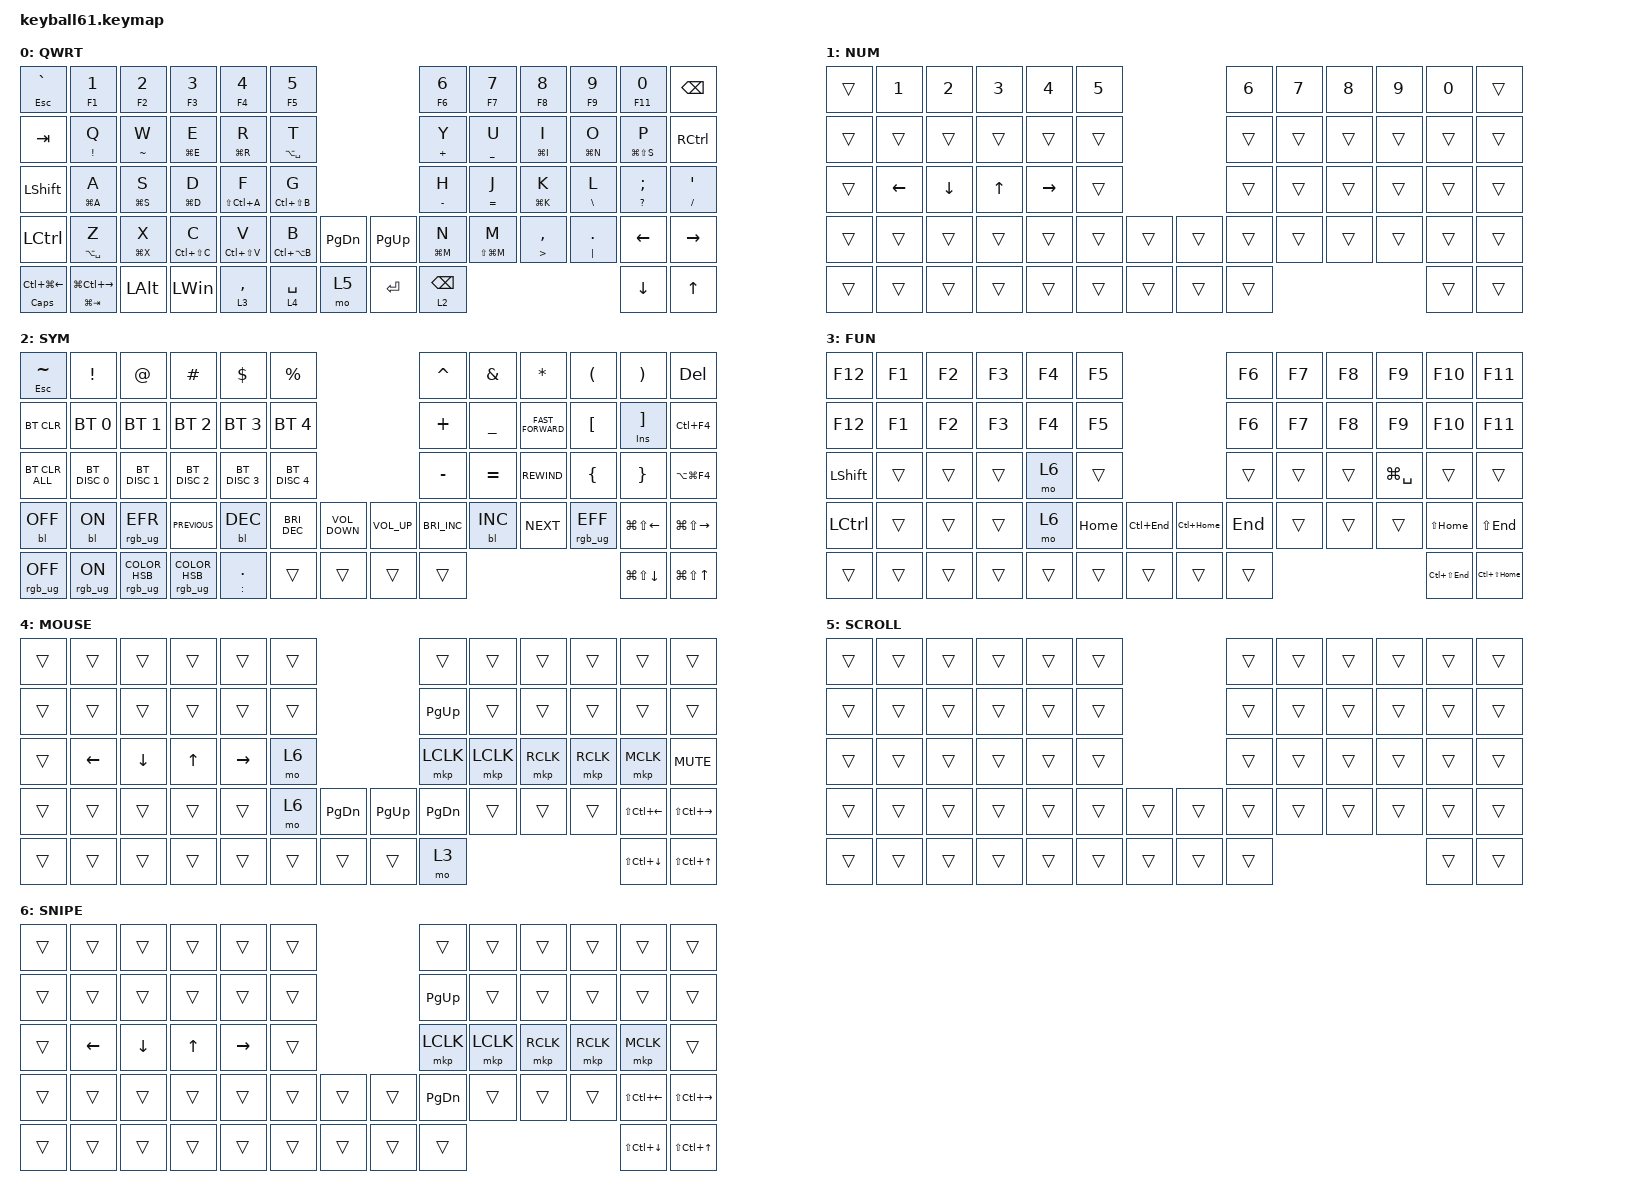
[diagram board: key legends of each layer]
#define DEFAULT 0
#define SYM     1
#define FUN     2
#define MOUSE   3
#define SCROLL  4
#define SNIPE   5

#include <behaviors/mouse_keys.dtsi>
#include <dt-bindings/zmk/mouse.h>
#include <behaviors.dtsi>
#include <dt-bindings/zmk/backlight.h>
#include <dt-bindings/zmk/bt.h>
#include <dt-bindings/zmk/keys.h>
#include <dt-bindings/zmk/pointing.h>
#include <dt-bindings/zmk/rgb.h>

&lt {
    tapping-term-ms = <240>;
    flavor = "balanced";
    quick-tap-ms = <150>;
};

&mt {
    tapping-term-ms = <200>;
    flavor = "tap-preferred";
    quick-tap-ms = <150>;
};

/ {
    combos {
        compatible = "zmk,combos";

        LG1 {
            bindings = <&kp LANGUAGE_1>;
            key-positions = <29 30>;
        };

        LG2 {
            bindings = <&kp LANGUAGE_2>;
            key-positions = <17 18>;
        };

        LG3 {
            bindings = <&kp LANGUAGE_3>;
            key-positions = <5 6>;
        };

        Bootloader_mode {
            bindings = <&bootloader>;
            key-positions = <9 10 11>;
        };

        System_reset {
            bindings = <&sys_reset>;
            key-positions = <21 22 23>;
        };

        Volume_down {
            bindings = <&kp C_VOLUME_DOWN>;
            key-positions = <41 42>;
        };

        Volume_up {
            bindings = <&kp C_VOLUME_UP>;
            key-positions = <43 44>;
        };

        Brightness_down {
            bindings = <&kp C_BRIGHTNESS_DEC>;
            key-positions = <40 41 42>;
        };

        Brightness_up {
            bindings = <&kp C_BRIGHTNESS_INC>;
            key-positions = <43 44 45>;
        };

        Backlit_down {
            bindings = <&bl BL_DEC>;
            key-positions = <42 41 40 39>;
        };

        Backlit_up {
            bindings = <&bl BL_INC>;
            key-positions = <43 44 45 46>;
        };

        Bluetooth1 {
            bindings = <&bt BT_SEL 0>;
            key-positions = <0 1 2>;
        };

        Bluetooth2 {
            bindings = <&bt BT_SEL 1>;
            key-positions = <12 13 14>;
        };

        Bluetooth3 {
            bindings = <&bt BT_SEL 2>;
            key-positions = <24 25 26>;
        };

        Bluetooth4 {
            bindings = <&bt BT_SEL 3>;
            key-positions = <36 37 38>;
        };

        Bluetooth5 {
            bindings = <&bt BT_SEL 4>;
            key-positions = <50 51 52>;
        };

        Previous {
            bindings = <&kp C_PREVIOUS>;
            key-positions = <42 41 40 39 38>;
        };

        Next {
            bindings = <&kp C_NEXT>;
            key-positions = <43 44 45 46 47>;
        };

        Previous_right {
            bindings = <&kp C_PREVIOUS>;
            key-positions = <49 60>;
        };

        Next_right {
            bindings = <&kp C_NEXT>;
            key-positions = <35 23>;
        };
    };

    behaviors {
        HMR: HMR {
            compatible = "zmk,behavior-hold-tap";
            label = "HMR";
            bindings = <&kp>, <&kp>;

            #binding-cells = <2>;
            flavor = "tap-preferred";
            tapping-term-ms = <200>;
            quick-tap-ms = <175>;
            hold-trigger-on-release;
            hold-trigger-key-positions = <0 1 5 12 13 14 15 16 17 24 25 26 27 28 29 36 37 38 39 40 41 42 50 51 52 53 54 55 56 2 3 4 57 58>;
        };

        HML: HML {
            compatible = "zmk,behavior-hold-tap";
            label = "HML";
            bindings = <&kp>, <&kp>;

            #binding-cells = <2>;
            tapping-term-ms = <280>;
            quick-tap-ms = <255>;
            flavor = "tap-preferred";
            hold-trigger-key-positions = <0 1 2 4 5 6 7 9 10 11 12 13 14 15 16 17 18 19 20 21 22 23 24 25 26 27 28 29 30 31 32 33 34 35 36 37 38 39 40 41 42 43 44 45 46 47 48 49 50 51 52 53 54 55 56 57 58 59 60 3 8>;
            hold-trigger-on-release;
        };

        HMI: HMI {
            compatible = "zmk,behavior-hold-tap";
            label = "HMI";
            bindings = <&kp>, <&kp>;

            #binding-cells = <2>;
            tapping-term-ms = <250>;
            quick-tap-ms = <225>;
            flavor = "tap-preferred";
            hold-trigger-on-release;
            hold-trigger-key-positions = <0 1 2 3 4 5 12 13 14 15 16 17 24 25 26 27 28 29 36 37 38 39 40 41 42 50 51 52 53 54 55 56 57 58>;
        };

        HMS: HMS {
            compatible = "zmk,behavior-hold-tap";
            label = "HMS";
            bindings = <&kp>, <&kp>;

            #binding-cells = <2>;
            tapping-term-ms = <220>;
            quick-tap-ms = <195>;
            flavor = "tap-preferred";
            hold-trigger-key-positions = <0 1 2 3 4 5 12 13 14 15 16 17 24 25 26 27 28 29 36 37 38 39 40 41 42 50 51 52 53 54 55 56 57 58>;
            hold-trigger-on-release;
        };

        MOT: MOT {
            compatible = "zmk,behavior-hold-tap";
            label = "MOT";
            bindings = <&mo>, <&mo>;

            #binding-cells = <2>;
            hold-trigger-key-positions = <0 1 2 3 4 5 6 7 8 9 10 11 12 13 14 15 16 17 18 19 20 21 22 23 24 25 26 27 28 29 30 31 32 33 34 35 36 37 38 39 40 41 42 43 44 45 46 47 48 49 50 51 52 53 54 55 56 57 58 59 60>;
            hold-trigger-on-release;
            flavor = "tap-preferred";
            tapping-term-ms = <400>;
            quick-tap-ms = <375>;
        };
    };

    macros {
        end_doc: end_doc {
            compatible = "zmk,behavior-macro";
            #binding-cells = <0>;
            bindings = <&none>, <&macro_press>;

            label = "END_DOC";
        };
    };

    keymap {
        compatible = "zmk,keymap";

        default_layer {
            label = "QWRT";
            bindings = <
&HMS ESCAPE GRAVE                 &HMR F1 N1                  &HMR F2 N2    &HMR F3 N3        &HMR F4 N4        &HMR F5 N5                                    &HMR F6 N6       &HMR F7 N7        &HMR F8 N8               &HMR F9 N9        &HMR F11 N0         &kp BSPC
&kp TAB                           &HMI EXCLAMATION Q          &HMI TILDE W  &HML LG(E) E      &HML LG(R) R      &HMI LA(SPACE) T                              &HMR PLUS Y      &HMR UNDER U      &HML LG(I) I             &HML LG(N) O      &HML LG(LS(S)) P    &kp RIGHT_CONTROL
&kp LEFT_SHIFT                    &HML LG(A) A                &HML LG(S) S  &HML LG(D) D      &HMI LS(LC(A)) F  &HMI LC(LS(B)) G                              &HMR MINUS H     &HMR EQUAL J      &HML LG(K) K             &HMI BACKSLASH L  &HMR QUESTION SEMI  &HMR SLASH SQT
&kp LEFT_CONTROL                  &HMI LA(SPACE) Z            &HMI LG(X) X  &HMI LC(LS(C)) C  &HMI LC(LS(V)) V  &HMI LC(LA(B)) B  &kp PAGE_DOWN  &kp PAGE_UP  &HMI LG(M) N     &HMI LS(LG(M)) M  &HMS GREATER_THAN COMMA  &HMS PIPE DOT     &kp LEFT_ARROW      &kp RIGHT
&HMR CAPSLOCK LC(LG(LEFT_ARROW))  &HMR LG(TAB) LG(LC(RIGHT))  &kp LEFT_ALT  &kp LEFT_WIN      &lt 3 COMMA       &lt 4 SPACE       &mo 5          &kp ENTER    &lt 2 BACKSPACE                                                               &kp DOWN_ARROW      &kp UP_ARROW
            >;
        };

        number_layer {
            bindings = <
&trans  &kp N1    &kp N2    &kp N3  &kp N4     &kp N5                  &kp N6  &kp N7  &kp N8  &kp N9  &kp N0  &trans
&trans  &trans    &trans    &trans  &trans     &trans                  &trans  &trans  &trans  &trans  &trans  &trans
&trans  &kp LEFT  &kp DOWN  &kp UP  &kp RIGHT  &trans                  &trans  &trans  &trans  &trans  &trans  &trans
&trans  &trans    &trans    &trans  &trans     &trans  &trans  &trans  &trans  &trans  &trans  &trans  &trans  &trans
&trans  &trans    &trans    &trans  &trans     &trans  &trans  &trans  &trans                          &trans  &trans
            >;

            label = "NUM";
        };

        symbol_layer {
            label = "SYM";
            bindings = <
&HMS ESCAPE TILDE  &kp EXCLAMATION  &kp AT_SIGN                      &kp HASH                           &kp DOLLAR      &kp PERCENT                                               &kp CARET             &kp AMPERSAND   &kp ASTERISK        &kp LEFT_PARENTHESIS  &kp RIGHT_PARENTHESIS      &kp DELETE
&bt BT_CLR         &bt BT_SEL 0     &bt BT_SEL 1                     &bt BT_SEL 2                       &bt BT_SEL 3    &bt BT_SEL 4                                              &kp PLUS              &kp UNDERSCORE  &kp C_FAST_FORWARD  &kp LEFT_BRACKET      &HML INSERT RIGHT_BRACKET  &kp LC(F4)
&bt BT_CLR_ALL     &bt BT_DISC 0    &bt BT_DISC 1                    &bt BT_DISC 2                      &bt BT_DISC 3   &bt BT_DISC 4                                             &kp MINUS             &kp EQUAL       &kp C_REWIND        &kp LEFT_BRACE        &kp RIGHT_BRACE            &kp LA(LG(F4))
&bl BL_OFF         &bl BL_ON        &rgb_ug RGB_EFR                  &kp C_PREVIOUS                     &bl BL_DEC      &kp C_BRIGHTNESS_DEC  &kp C_VOLUME_DOWN  &kp C_VOLUME_UP  &kp C_BRIGHTNESS_INC  &bl BL_INC      &kp C_NEXT          &rgb_ug RGB_EFF       &kp LG(LS(LEFT_ARROW))     &kp LG(LS(RIGHT_ARROW))
&rgb_ug RGB_OFF    &rgb_ug RGB_ON   &rgb_ug RGB_COLOR_HSB(0,100,50)  &rgb_ug RGB_COLOR_HSB(136,100,50)  &HMR COLON DOT  &trans                &trans             &trans           &trans                                                                          &kp LG(LS(DOWN_ARROW))     &kp LG(LS(UP_ARROW))
            >;
        };

        function_layer {
            label = "FUN";
            bindings = <
&kp F12           &kp F1  &kp F2  &kp F3  &kp F4  &kp F5                               &kp F6   &kp F7  &kp F8  &kp F9         &kp F10          &kp F11
&kp F12           &kp F1  &kp F2  &kp F3  &kp F4  &kp F5                               &kp F6   &kp F7  &kp F8  &kp F9         &kp F10          &kp F11
&kp LEFT_SHIFT    &trans  &trans  &trans  &mo 6   &trans                               &trans   &trans  &trans  &kp LG(SPACE)  &trans           &trans
&kp LEFT_CONTROL  &trans  &trans  &trans  &mo 6   &kp HOME  &kp LC(END)  &kp LC(HOME)  &kp END  &trans  &trans  &trans         &kp LS(HOME)     &kp LS(END)
&trans            &trans  &trans  &trans  &trans  &trans    &trans       &trans        &trans                                  &kp LC(LS(END))  &kp LC(LS(HOME))
            >;
        };

        mouse_layer {
            label = "MOUSE";
            bindings = <
&trans  &trans    &trans    &trans  &trans     &trans                              &trans         &trans     &trans     &trans     &trans                  &trans
&trans  &trans    &trans    &trans  &trans     &trans                              &kp PAGE_UP    &trans     &trans     &trans     &trans                  &trans
&trans  &kp LEFT  &kp DOWN  &kp UP  &kp RIGHT  &mo 6                               &mkp LCLK      &mkp LCLK  &mkp RCLK  &mkp RCLK  &mkp MCLK               &kp C_MUTE
&trans  &trans    &trans    &trans  &trans     &mo 6   &kp PAGE_DOWN  &kp PAGE_UP  &kp PAGE_DOWN  &trans     &trans     &trans     &kp LS(LC(LEFT_ARROW))  &kp LS(LC(RIGHT))
&trans  &trans    &trans    &trans  &trans     &trans  &trans         &trans       &mo 3                                           &kp LS(LC(DOWN_ARROW))  &kp LS(LC(UP_ARROW))
            >;
        };

        scroll_layer {
            label = "SCROLL";
            bindings = <
&trans  &trans  &trans  &trans  &trans  &trans                  &trans  &trans  &trans  &trans  &trans  &trans
&trans  &trans  &trans  &trans  &trans  &trans                  &trans  &trans  &trans  &trans  &trans  &trans
&trans  &trans  &trans  &trans  &trans  &trans                  &trans  &trans  &trans  &trans  &trans  &trans
&trans  &trans  &trans  &trans  &trans  &trans  &trans  &trans  &trans  &trans  &trans  &trans  &trans  &trans
&trans  &trans  &trans  &trans  &trans  &trans  &trans  &trans  &trans                          &trans  &trans
            >;
        };

        snipe_layer {
            label = "SNIPE";
            bindings = <
&trans  &trans    &trans    &trans        &trans           &trans                  &trans         &trans     &trans     &trans     &trans                  &trans
&trans  &trans    &trans    &trans        &trans           &trans                  &kp PAGE_UP    &trans     &trans     &trans     &trans                  &trans
&trans  &kp LEFT  &kp DOWN  &kp UP_ARROW  &kp RIGHT_ARROW  &trans                  &mkp LCLK      &mkp LCLK  &mkp RCLK  &mkp RCLK  &mkp MCLK               &trans
&trans  &trans    &trans    &trans        &trans           &trans  &trans  &trans  &kp PAGE_DOWN  &trans     &trans     &trans     &kp LS(LC(LEFT_ARROW))  &kp LS(LC(RIGHT_ARROW))
&trans  &trans    &trans    &trans        &trans           &trans  &trans  &trans  &trans                                          &kp LS(LC(DOWN_ARROW))  &kp LS(LC(UP_ARROW))
            >;
        };
    };
};
